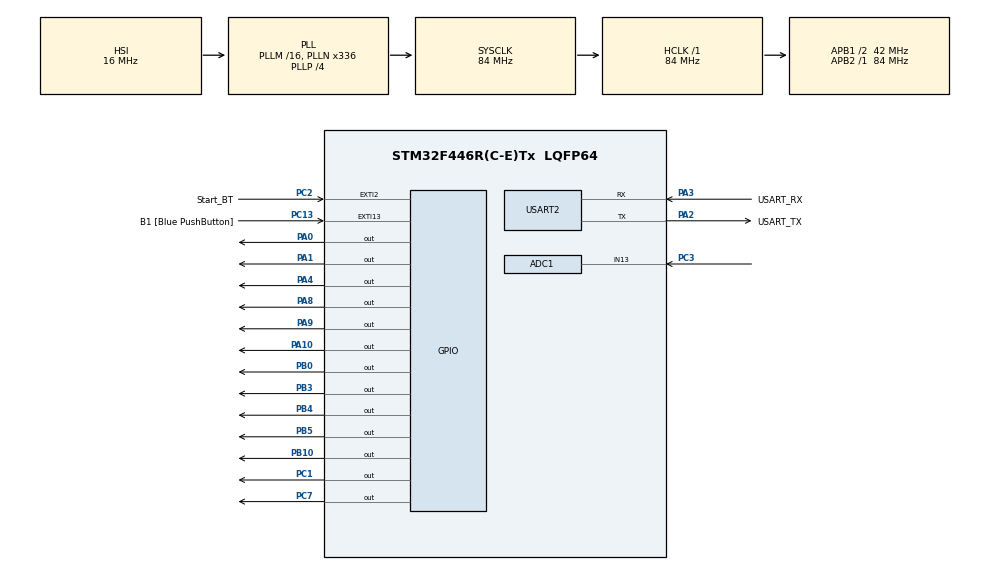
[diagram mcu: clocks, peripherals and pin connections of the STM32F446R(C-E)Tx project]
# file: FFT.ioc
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ADC1.Channel-0\#ChannelRegularConversion=ADC_CHANNEL_13
ADC1.ExternalTrigConv=ADC_EXTERNALTRIGCONV_T3_TRGO
ADC1.NbrOfConversionFlag=1
ADC1.Rank-0\#ChannelRegularConversion=1
ADC1.SamplingTime-0\#ChannelRegularConversion=ADC_SAMPLETIME_3CYCLES
ADC1.master=1
ARM.CMSIS.5.6.0.CMSISJjCORE=true
ARM.CMSIS.5.6.0.CMSISJjDSP=Library
Mcu.Family=STM32F4
Mcu.Name=STM32F446R(C-E)Tx
Mcu.Package=LQFP64
NVIC.ADC_IRQn=true\:0\:0\:false\:false\:true\:true\:true\:true
NVIC.EXTI2_IRQn=true\:0\:0\:false\:false\:true\:true\:true\:true
NVIC.PriorityGroup=NVIC_PRIORITYGROUP_0
PA0-WKUP.Signal=GPIO_Output
PA1.Signal=GPIO_Output
PA10.Signal=GPIO_Output
PA13.GPIO_Label=TMS
PA13.Mode=Serial_Wire
PA13.Signal=SYS_JTMS-SWDIO
PA14.GPIO_Label=TCK
PA14.Mode=Serial_Wire
PA14.Signal=SYS_JTCK-SWCLK
PA2.GPIO_Label=USART_TX
PA2.Mode=Asynchronous
PA2.Signal=USART2_TX
PA3.GPIO_Label=USART_RX
PA3.Mode=Asynchronous
PA3.Signal=USART2_RX
PA4.Signal=GPIO_Output
PA8.Signal=GPIO_Output
PA9.Signal=GPIO_Output
PB0.Signal=GPIO_Output
PB10.Signal=GPIO_Output
PB3.Signal=GPIO_Output
PB4.Signal=GPIO_Output
PB5.Signal=GPIO_Output
PC1.Signal=GPIO_Output
PC13.GPIO_Label=B1 [Blue PushButton]
PC13.GPIO_ModeDefaultEXTI=GPIO_MODE_IT_FALLING
PC13.Signal=GPXTI13
PC14-OSC32_IN.Mode=LSE-External-Oscillator
PC14-OSC32_IN.Signal=RCC_OSC32_IN
PC15-OSC32_OUT.Mode=LSE-External-Oscillator
PC15-OSC32_OUT.Signal=RCC_OSC32_OUT
PC2.GPIO_Label=Start_BT
PC2.GPIO_ModeDefaultEXTI=GPIO_MODE_IT_FALLING
PC2.GPIO_PuPd=GPIO_PULLUP
PC2.Signal=GPXTI2
PC3.Signal=ADCx_IN13
PC7.Signal=GPIO_Output
PH0-OSC_IN.Mode=HSE-External-Oscillator
PH0-OSC_IN.Signal=RCC_OSC_IN
PH1-OSC_OUT.Mode=HSE-External-Oscillator
PH1-OSC_OUT.Signal=RCC_OSC_OUT
ProjectManager.HeapSize=0x200
ProjectManager.StackSize=0x400
ProjectManager.TargetToolchain=STM32CubeIDE
RCC.48MHZClocksFreq_Value=84000000
RCC.AHBFreq_Value=84000000
RCC.APB1CLKDivider=RCC_HCLK_DIV2
RCC.APB1Freq_Value=42000000
RCC.APB1TimFreq_Value=84000000
RCC.APB2Freq_Value=84000000
RCC.APB2TimFreq_Value=84000000
RCC.CortexFreq_Value=84000000
RCC.FLatency-AdvancedSettings=FLASH_LATENCY_2
RCC.HCLKFreq_Value=84000000
RCC.HSE_VALUE=8000000
RCC.HSI_VALUE=16000000
RCC.PLLN=336
RCC.PLLP=RCC_PLLP_DIV4
RCC.SYSCLKFreq_VALUE=84000000
RCC.SYSCLKSource=RCC_SYSCLKSOURCE_PLLCLK
RCC.USBFreq_Value=168000000
RCC.VCOOutputFreq_Value=336000000
SH.ADCx_IN13.0=ADC1_IN13,IN13
TIM1.AutoReloadPreload=TIM_AUTORELOAD_PRELOAD_ENABLE
TIM1.Period=0xFFFF-1
TIM1.Prescaler=84-1
TIM3.AutoReloadPreload=TIM_AUTORELOAD_PRELOAD_ENABLE
TIM3.Channel-PWM\ Generation1\ No\ Output=TIM_CHANNEL_1
TIM3.Period=100-1
TIM3.Prescaler=84-1
TIM3.TIM_MasterOutputTrigger=TIM_TRGO_UPDATE
USART2.VirtualMode=VM_ASYNC
VP_ARM.CMSIS_VS_CMSISJjCORE_5.3.0_5.6.0.Mode=CMSISJjCORE
VP_ARM.CMSIS_VS_CMSISJjDSP_1.7.0_5.6.0.Mode=CMSISJjDSP
VP_MBEDTLS_VS_MBEDTLS.Mode=Enabled
VP_TIM1_VS_ClockSourceINT.Mode=Internal
VP_TIM3_VS_ClockSourceINT.Mode=Internal
VP_TIM3_VS_no_output1.Mode=PWM Generation1 No Output
board=NUCLEO-F446RE

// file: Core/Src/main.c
/* USER CODE BEGIN Header */
/**
  ******************************************************************************
  * @file           : main.c
  * @brief          : Main program body
  ******************************************************************************
  * @attention
  *
  * Copyright (c) 2026 STMicroelectronics.
  * All rights reserved.
  *
  * This software is licensed under terms that can be found in the LICENSE file
  * in the root directory of this software component.
  * If no LICENSE file comes with this software, it is provided AS-IS.
  *
  ******************************************************************************
  */
/* USER CODE END Header */
#include "main.h"
#include "mbedtls.h"

/* USER CODE BEGIN Includes */
#include "fonts.h"  // fontes para o display TFT
#include "tft.h"    // funções do display TFT
#include "user_setting.h"  // configurações do usuário
#include <math.h>       // funções matemáticas (sin, cos, log...)
#include <stdlib.h>     // rand(), srand()
#include <stdio.h>    // sprintf() para formatar strings
#include "arm_math.h"   // biblioteca CMSIS-DSP para FFT
#include "arm_const_structs.h"   // estruturas prontas da FFT (ex: 1024 pontos)
/* USER CODE END Includes */

/* USER CODE BEGIN PD */

// Define o tamanho total do buffer
// 2048 = 1024 amostras reais + 1024 zeros (parte imaginária)
// A FFT complexa precisa de pares [real, imaginário]
#define TEST_LENGTH_SAMPLES 2048
/* USER CODE END PD */

ADC_HandleTypeDef hadc1; // estrutura de controle do ADC1

TIM_HandleTypeDef htim1;  // estrutura de controle do Timer1 (usado pelo TFT)
TIM_HandleTypeDef htim3;  // estrutura de controle do Timer3 (trigger do ADC)

UART_HandleTypeDef huart2; // estrutura de controle da UART2 (debug serial)

/* USER CODE BEGIN PV */
// Armazena o ID do controlador do display TFT
// Cada modelo de display tem um ID diferente (ex: 0x9341 para ILI9341)
uint16_t ID=0;

// Flag setada pela ISR do botão
// 'volatile': o compilador não pode otimizar/cachear esta variável
// pois ela é modificada em contexto de interrupção
volatile uint8_t botao_pressionado = 0;

// Flag setada pela ISR do ADC quando 1024 amostras foram coletadas
// Sinaliza ao loop principal que pode processar os dados
volatile uint8_t adc_pronto = 0;

/* Variáveis para FFT dinâmico */
// Contador de amostras coletadas pelo ADC
// 'volatile' obriga o compilador a sempre ler da memória
// pois essa variável é modificada dentro de uma interrupção (ISR)
volatile uint32_t nAmostras = 0;

// Buffer onde a ISR do ADC armazena as amostras capturadas
// Tamanho 2048: posições pares = parte real, ímpares = 0 (imaginário)
float32_t dinamicInput_f32_10kHz[TEST_LENGTH_SAMPLES];

// Buffer de saída da FFT — armazena as magnitudes de cada bin
// Tamanho 1024 = metade de 2048 (apenas bins úteis)
// 'static' significa que só existe neste arquivo
static float32_t testOutput[TEST_LENGTH_SAMPLES/2];

/* ------------------------------------------------------------------
* Global variables for FFT Bin Example
* ------------------------------------------------------------------- */
uint32_t fftSize = 1024; // número de pontos da FFT
uint32_t ifftFlag = 0;   // 0 = FFT direta, 1 = FFT inversa
uint32_t doBitReverse = 1;  // 1 = aplica bit-reversal (necessário para o algoritmo)
uint32_t testIndex = 0;   // bin onde foi encontrada a maior magnitude

/* USER CODE END PV */

void SystemClock_Config(void);
static void MX_GPIO_Init(void);
static void MX_TIM1_Init(void);
static void MX_USART2_UART_Init(void);
static void MX_ADC1_Init(void);
static void MX_TIM3_Init(void);

int main(void)
{

  /* MCU Configuration--------------------------------------------------------*/

  /* Reset of all peripherals, Initializes the Flash interface and the Systick. */
  HAL_Init();

  /* Configure the system clock */
  SystemClock_Config();

  /* Initialize all configured peripherals */
  MX_GPIO_Init();
  MX_TIM1_Init();
  // configura UART2 a 115200 baud (debug via USB-Serial)
  MX_USART2_UART_Init();
  // inicializa biblioteca de criptografia (não usada ativamente)
  MX_MBEDTLS_Init();
  // configura ADC1: 12 bits, trigger TIM3, canal 13 (PC3)
  MX_ADC1_Init();
  // configura Timer3: prescaler=83, period=99 → 10kHz de trigger
  MX_TIM3_Init();

  /* USER CODE BEGIN 2 */
  // Configura os pinos GPIO específicos do display TFT
  // (dados, controle, chip select, reset, etc.)
  tft_gpio_init();

  // Inicia o Timer1 — usado internamente pelo driver do TFT
  // para medir tempo de operações do display
  HAL_TIM_Base_Start(&htim1);

  // Lê o ID do controlador do display via SPI/paralelo

  // Retorna ex: 0x9341 para ILI9341, 0x7789 para ST7789
  ID = tft_readID();

  // Aguarda 100ms para o display estabilizar após leitura do ID
  HAL_Delay(100);

  // inicializa o display com base no ID lido
  tft_init(ID);

  // rotação 1 = landscape (320×240)
  tft_setRotation(1);

  // preenche a tela de preto
  tft_fillScreen(BLACK);

  // sem inversão de cores
  tft_invertDisplay(0);

  // Escreve mensagem inicial na tela
  // Parâmetros: posição Y=15, cor branca, fonte mono12x7bold, escala 1
  tft_printnewtstr(15, WHITE, &mono12x7bold, 1, (uint8_t*)"Pressione o botao");

  //---------------Agora vai para o LCD----------------
  int32_t i;  // iterador dos loops de desenho
  int32_t amp; // amplitude em pixels calculada para cada amostra
  int32_t escala;  // fator de escala para ampliar o sinal no display
  int32_t yini;   // coordenada Y inicial da barra vertical
  int32_t yfinal;  // coordenada Y final da barra vertical
  int32_t ycentro;  // coordenada Y do centro do gráfico
  char num[30];
  int32_t size;

  // Cópia das primeiras 320 amostras reais do sinal no tempo
  // Salva ANTES da FFT, pois a FFT modifica o buffer in-place
  // 320 = largura do display em pixels (um ponto por coluna)
  float32_t espelho_pre_processamento[320];
  // Maior magnitude encontrada no espectro
  // Usada para normalizar o gráfico de frequência (maior barra = tela cheia)
  float32_t maxValue;

  /* USER CODE END 2 */

  /* Infinite loop */
  while (1)
  {

    /* USER CODE BEGIN 3 */

	  // Verifica se a flag foi setada pela ISR do botão
	  // Só entra aqui quando o usuário pressionar o botão físico
	  if(botao_pressionado)
	  {
		  // Limpa a flag imediatamente para permitir nova detecção futura
		  botao_pressionado = 0;

		  // Limpa a tela e informa o usuário que a captura está em andamento
		  tft_fillScreen(BLACK);
		  tft_printnewtstr(15, WHITE, &mono12x7bold, 1, (uint8_t*)"Adquirindo...");

		  nAmostras  = 0;  // Zera o contador de amostras antes de iniciar nova captura
		  adc_pronto = 0;   // Garante que a flag de conclusão está limpa

	      // Habilita o ADC1 em modo interrupção
	      // A cada conversão completa, chama HAL_ADC_ConvCpltCallback automaticamente
		  HAL_ADC_Start_IT(&hadc1);

		  // Inicia o Timer3 no canal 1
		  // Gera evento TRGO (trigger output) a cada 100 ciclos de 1MHz = 10kHz
		  // Cada TRGO dispara uma conversão no ADC1
		  HAL_TIM_PWM_Start(&htim3, TIM_CHANNEL_1);

		  // Busy-wait: fica aqui até a ISR do ADC setar adc_pronto = 1
		  // Isso ocorre após 1024 conversões (≈ 0,1 segundo a 10kHz)
		  while(!adc_pronto);

		  // Copia as 320 primeiras amostras REAIS para exibição no domínio do tempo
		  // i*2 pula as posições ímpares (parte imaginária = 0)
		  // Necessário porque a FFT vai modificar dinamicInput_f32_10kHz in-place
		  for(i = 0; i < 320; i++)
			  espelho_pre_processamento[i] = dinamicInput_f32_10kHz[i*2];

		  // Calcula a média aritmética das amostras reais
		  // Representa o offset DC do sinal (tensão de polarização do microfone)
		  float32_t media = 0.0f;
		  for(i = 0; i < (int32_t)fftSize; i++)
			  media += dinamicInput_f32_10kHz[i * 2];
		  media /= (float32_t)fftSize;

		  // Subtrai a média de cada amostra
		  // Centraliza o sinal em zero, evitando pico espúrio no bin 0 da FFT
		  for(i = 0; i < (int32_t)fftSize; i++)
			  dinamicInput_f32_10kHz[i * 2] -= media;

	      // Executa a FFT complexa de 1024 pontos
	      // &arm_cfft_sR_f32_len1024: estrutura com coeficientes (twiddle factors) pré-calculados
	      // dinamicInput_f32_10kHz: buffer de entrada/saída (modificado in-place)
	      // ifftFlag = 0: FFT direta (domínio do tempo → domínio da frequência)
	      // doBitReverse = 1: aplica reordenação bit-reversal (necessária pelo algoritmo)
		  arm_cfft_f32(&arm_cfft_sR_f32_len1024, dinamicInput_f32_10kHz, ifftFlag, doBitReverse);

		  // Calcula a magnitude de cada bin: sqrt(real² + imaginário²)
		  // Entrada: dinamicInput_f32_10kHz (saída complexa da FFT, 2048 floats)
		  // Saída: testOutput (1024 magnitudes, uma por bin)
		  arm_cmplx_mag_f32(dinamicInput_f32_10kHz, testOutput, fftSize);

	      // Encontra o valor máximo em testOutput
	      // maxValue: magnitude do bin dominante (frequência com mais energia)
	      // testIndex: índice do bin dominante
	      // Frequência dominante = testIndex * (fs / fftSize) = testIndex * 9,77 Hz
		  arm_max_f32(testOutput, fftSize, &maxValue, &testIndex);

		  // Se maxValue for zero (sem sinal), a divisão no gráfico causaria NaN/Inf
		  // Substitui por valor mínimo positivo para evitar erro
		  if(maxValue < 1e-6f)
			  maxValue = 1e-6f;

		  // Encontra o valor máximo em testOutput
		  // maxValue: magnitude do bin dominante (frequência com mais energia)
		  // testIndex: índice do bin dominante
		  // Frequência dominante = testIndex * (fs / fftSize) = testIndex * 9,77 Hz
		  arm_max_f32(testOutput, fftSize, &maxValue, &testIndex);

		  // ══════════════════════════════════════════════
		  // RESUMO DA AQUISIÇÃO — enviado uma vez por captura
		  // ══════════════════════════════════════════════
		  float32_t freq_dominante = (float32_t)testIndex * 10000.0f / 1024.0f;
		  // Converte o índice do bin para frequência real em Hz
		  // fórmula: bin * (taxa_amostragem / numero_pontos_fft)

		  char resumo[100];
		  int rsize = sprintf(resumo,
		      "\r\n[t=%lu] FREQ_DOMINANTE=%.1fHz MAG=%.4f\r\n",
		      HAL_GetTick(),      // tempo em ms desde o boot — identifica QUANDO foi essa captura
		      freq_dominante,     // frequência calculada do bin de pico
		      maxValue);          // magnitude (intensidade) do pico
		  HAL_UART_Transmit(&huart2, (uint8_t*)resumo, rsize, 200);
		  // ══════════════════════════════════════════════

		  tft_fillScreen(BLACK);
		  // ... continua o código do display do domínio do tempo

		  // Limpa a tela antes de desenhar o novo gráfico
		  tft_fillScreen(BLACK);

		  // Escreve o título na linha 15 pixels do topo
		  // Cor branca, fonte mono12x7bold, escala 1
		  tft_printnewtstr (15, WHITE, &mono12x7bold, 1, (uint8_t *)"FFT-Dominio do Tempo");

	      // Fator de amplificação: multiplica o sinal normalizado (-1 a +1) por 500
	      // Ajuste empírico para o KY-037 — sinal de microfone tem amplitude pequena
		  escala = 500;

		  // Centro vertical do gráfico = metade da tela (240px / 2 = 120)
		  // Amostras positivas sobem, negativas descem a partir deste ponto
		  ycentro = 120;

		  // percorre cada coluna do display (320 pixels de largura)
		  for(i=0; i<320; i++)
		  {
			  // Converte a amostra float (-1.0 a +1.0) em pixels
			  // Exemplo: amostra = 0.05, escala = 3000 → amp = 150 pixels
			  amp = (int32_t)(espelho_pre_processamento[i]*escala);

			  // Envia o valor pela UART para debug no PC (ex: Serial Monitor)
			  //size = sprintf(num,"%d\r\n",amp);
			  //HAL_UART_Transmit(&huart2, num, size, 10);

			  /* Proteção de borda: limita amp ao espaço disponível na tela */
			  if(amp >  ycentro)
				  amp =  ycentro; // Limita para não ultrapassar a borda superior
			  if(amp < -ycentro)
				  amp = -ycentro; // Limita para não ultrapassar a borda inferior

			  // Calcula onde começa e termina a barra vertical
			  // Sinal positivo: barra sobe a partir do centro
			  // Sinal negativo: barra desce a partir do centro
			  if(amp>0)
			  {
				  // Sinal positivo: barra vai do centro para CIMA
				  // yini menor que ycentro (tela tem Y crescendo para baixo)
				  yini = ycentro - amp;
				  yfinal = ycentro;
			  }
			  else
			  {
				  // Sinal negativo: barra vai do centro para BAIXO
				  // -amp é positivo, então yfinal > ycentro
				  yini = ycentro;
				  yfinal = ycentro-amp;
			  }
			  // Desenha retângulo de 1 pixel de largura na coluna i
			  // Da linha yini até yfinal, na cor amarela
			  // O +1 garante que ao menos 1 pixel é desenhado quando amp=0
			  tft_fillRect(i, yini, 1, yfinal-yini+1, YELLOW);
			  //tft_drawPixel(i, ycentro-amp, YELLOW);
		  }
		  // Mantém o gráfico do domínio do tempo visível por 4 segundos
		  HAL_Delay(4000);
		  // Limpa a tela antes do próximo gráfico
		  tft_fillScreen(BLACK);

		  // Escreve o título do espectro de frequências
		  tft_printnewtstr (15, WHITE, &mono12x7bold, 1, (uint8_t *)"FFT-Dominio da Freq.");

		  // Escala do espectro: após normalização por maxValue, amp vai de 0 a 150 pixels
		  // Ajuste conforme necessário para ocupar bem a tela verticalmente
		  escala = 150;

		  // Base das barras perto da borda inferior da tela (altura = 240px)
		  // Barras crescem para cima a partir deste ponto
		  ycentro = 230;

		  // ══════════════════════════════════════════════
		  // CABEÇALHO CSV — identifica as colunas dos dados que virão
		  // ══════════════════════════════════════════════
		  char header[30];
		  int hsize = sprintf(header, "freq_hz,magnitude\r\n");
		  HAL_UART_Transmit(&huart2, (uint8_t*)header, hsize, 100);
		  // ══════════════════════════════════════════════

		  // Percorre 320 bins de frequência (dos 1024 disponíveis, exibe os primeiros 320)
		  // Cada bin corresponde a: i * 10000 / 1024 ≈ i * 9,77 Hz
		  // Bin 320 ≈ 3125 Hz — cobre a faixa audível relevante do microfone
		  for(i=0; i<320; i++)
		  {
			  // Normaliza a magnitude do bin pelo valor máximo
			  // testOutput[i] / maxValue → valor entre 0.0 e 1.0
			  // Multiplica por escala para converter em pixels
			  // O bin dominante terá sempre amp = escala (barra máxima)
			  amp = (int32_t)(testOutput[i]*escala/maxValue);
			  //size = sprintf(num,"%d\r\n",amp);
			  //HAL_UART_Transmit(&huart2, num, size, 10);

			  /* Proteção de borda */
			  // Limita para não ultrapassar a borda superior da tela
			  if(amp > ycentro)
				  amp = ycentro;
			  // Magnitudes são sempre positivas, mas garante que não há valor negativo
			  if(amp < 0)
				  amp = 0;

			  // ══════════════════════════════════════════════
			  // CALCULA A FREQUÊNCIA REAL DESTE BIN
			  // ══════════════════════════════════════════════
			  float32_t freq_hz = (float32_t)i * 10000.0f / 1024.0f;
			  // i = índice do bin (0 a 319)
			  // 10000 = taxa de amostragem em Hz
			  // 1024 = número de pontos da FFT
			  // Resultado: cada bin equivale a ~9,77 Hz

			  // ══════════════════════════════════════════════
			  // ENVIA A LINHA CSV: frequência,magnitude
			  // ══════════════════════════════════════════════
			  size = sprintf(num, "%.1f, %6f\r\n", freq_hz, testOutput[i]);
			  // %.1f = frequência com 1 casa decimal (ex: 996.1)
			  // %ld  = amplitude em pixels (long int)
			  HAL_UART_Transmit(&huart2, (uint8_t*)num, size, 10);
			  // ══════════════════════════════════════════════

			  // Barras sempre crescem de ycentro (base) para cima
			  yini   = ycentro - amp;
			  yfinal = ycentro;

			  // Desenha a barra do espectro na coluna i, cor amarela
			  tft_fillRect(i, yini, 1, yfinal-yini+1, YELLOW);
		  }
		  // Aguarda 4 segundos com o espectro visível
		  HAL_Delay(4000);
		  //Limpa a linha de texto da tela
		  tft_fillRect(0, 0, 320, 22, BLACK);
		  //escreve texto para pressionar o botão para nova aquisição de dados
		  tft_printnewtstr(15, WHITE, &mono12x7bold, 1, (uint8_t*)"Pressione o botao...");
	  }
  }
  /* USER CODE END 3 */
}

void SystemClock_Config(void)
{
  RCC_OscInitTypeDef RCC_OscInitStruct = {0};
  RCC_ClkInitTypeDef RCC_ClkInitStruct = {0};

  /** Configure the main internal regulator output voltage
  */
  __HAL_RCC_PWR_CLK_ENABLE();
  __HAL_PWR_VOLTAGESCALING_CONFIG(PWR_REGULATOR_VOLTAGE_SCALE3);

  /** Initializes the RCC Oscillators according to the specified parameters
  * in the RCC_OscInitTypeDef structure.
  */
  RCC_OscInitStruct.OscillatorType = RCC_OSCILLATORTYPE_HSI;
  RCC_OscInitStruct.HSIState = RCC_HSI_ON;
  RCC_OscInitStruct.HSICalibrationValue = RCC_HSICALIBRATION_DEFAULT;
  RCC_OscInitStruct.PLL.PLLState = RCC_PLL_ON;
  RCC_OscInitStruct.PLL.PLLSource = RCC_PLLSOURCE_HSI;
  RCC_OscInitStruct.PLL.PLLM = 16;
  RCC_OscInitStruct.PLL.PLLN = 336;
  RCC_OscInitStruct.PLL.PLLP = RCC_PLLP_DIV4;
  RCC_OscInitStruct.PLL.PLLQ = 2;
  RCC_OscInitStruct.PLL.PLLR = 2;
  if (HAL_RCC_OscConfig(&RCC_OscInitStruct) != HAL_OK)
  {
    Error_Handler();
  }

  /** Initializes the CPU, AHB and APB buses clocks
  */
  RCC_ClkInitStruct.ClockType = RCC_CLOCKTYPE_HCLK|RCC_CLOCKTYPE_SYSCLK
                              |RCC_CLOCKTYPE_PCLK1|RCC_CLOCKTYPE_PCLK2;
  RCC_ClkInitStruct.SYSCLKSource = RCC_SYSCLKSOURCE_PLLCLK;
  RCC_ClkInitStruct.AHBCLKDivider = RCC_SYSCLK_DIV1;
  RCC_ClkInitStruct.APB1CLKDivider = RCC_HCLK_DIV2;
  RCC_ClkInitStruct.APB2CLKDivider = RCC_HCLK_DIV1;

  if (HAL_RCC_ClockConfig(&RCC_ClkInitStruct, FLASH_LATENCY_2) != HAL_OK)
  {
    Error_Handler();
  }
}

static void MX_ADC1_Init(void)
{

  ADC_ChannelConfTypeDef sConfig = {0};

  /** Configure the global features of the ADC (Clock, Resolution, Data Alignment and number of conversion)
  */
  hadc1.Instance = ADC1;
  hadc1.Init.ClockPrescaler = ADC_CLOCK_SYNC_PCLK_DIV4;
  hadc1.Init.Resolution = ADC_RESOLUTION_12B;
  hadc1.Init.ScanConvMode = DISABLE;
  hadc1.Init.ContinuousConvMode = DISABLE;
  hadc1.Init.DiscontinuousConvMode = DISABLE;
  hadc1.Init.ExternalTrigConvEdge = ADC_EXTERNALTRIGCONVEDGE_RISING;
  hadc1.Init.ExternalTrigConv = ADC_EXTERNALTRIGCONV_T3_TRGO;
  hadc1.Init.DataAlign = ADC_DATAALIGN_RIGHT;
  hadc1.Init.NbrOfConversion = 1;
  hadc1.Init.DMAContinuousRequests = DISABLE;
  hadc1.Init.EOCSelection = ADC_EOC_SINGLE_CONV;
  if (HAL_ADC_Init(&hadc1) != HAL_OK)
  {
    Error_Handler();
  }

  /** Configure for the selected ADC regular channel its corresponding rank in the sequencer and its sample time.
  */
  sConfig.Channel = ADC_CHANNEL_13;
  sConfig.Rank = 1;
  sConfig.SamplingTime = ADC_SAMPLETIME_3CYCLES;
  if (HAL_ADC_ConfigChannel(&hadc1, &sConfig) != HAL_OK)
  {
    Error_Handler();
  }

}

static void MX_TIM1_Init(void)
{

  TIM_ClockConfigTypeDef sClockSourceConfig = {0};
  TIM_MasterConfigTypeDef sMasterConfig = {0};

  htim1.Instance = TIM1;
  htim1.Init.Prescaler = 84-1;
  htim1.Init.CounterMode = TIM_COUNTERMODE_UP;
  htim1.Init.Period = 0xFFFF-1;
  htim1.Init.ClockDivision = TIM_CLOCKDIVISION_DIV1;
  htim1.Init.RepetitionCounter = 0;
  htim1.Init.AutoReloadPreload = TIM_AUTORELOAD_PRELOAD_ENABLE;
  if (HAL_TIM_Base_Init(&htim1) != HAL_OK)
  {
    Error_Handler();
  }
  sClockSourceConfig.ClockSource = TIM_CLOCKSOURCE_INTERNAL;
  if (HAL_TIM_ConfigClockSource(&htim1, &sClockSourceConfig) != HAL_OK)
  {
    Error_Handler();
  }
  sMasterConfig.MasterOutputTrigger = TIM_TRGO_RESET;
  sMasterConfig.MasterSlaveMode = TIM_MASTERSLAVEMODE_DISABLE;
  if (HAL_TIMEx_MasterConfigSynchronization(&htim1, &sMasterConfig) != HAL_OK)
  {
    Error_Handler();
  }

}

static void MX_TIM3_Init(void)
{

  TIM_ClockConfigTypeDef sClockSourceConfig = {0};
  TIM_MasterConfigTypeDef sMasterConfig = {0};
  TIM_OC_InitTypeDef sConfigOC = {0};

  htim3.Instance = TIM3;
  htim3.Init.Prescaler = 84-1;
  htim3.Init.CounterMode = TIM_COUNTERMODE_UP;
  htim3.Init.Period = 100-1;
  htim3.Init.ClockDivision = TIM_CLOCKDIVISION_DIV1;
  htim3.Init.AutoReloadPreload = TIM_AUTORELOAD_PRELOAD_ENABLE;
  if (HAL_TIM_Base_Init(&htim3) != HAL_OK)
  {
    Error_Handler();
  }
  sClockSourceConfig.ClockSource = TIM_CLOCKSOURCE_INTERNAL;
  if (HAL_TIM_ConfigClockSource(&htim3, &sClockSourceConfig) != HAL_OK)
  {
    Error_Handler();
  }
  if (HAL_TIM_PWM_Init(&htim3) != HAL_OK)
  {
    Error_Handler();
  }
  sMasterConfig.MasterOutputTrigger = TIM_TRGO_UPDATE;
  sMasterConfig.MasterSlaveMode = TIM_MASTERSLAVEMODE_DISABLE;
  if (HAL_TIMEx_MasterConfigSynchronization(&htim3, &sMasterConfig) != HAL_OK)
  {
    Error_Handler();
  }
  sConfigOC.OCMode = TIM_OCMODE_PWM1;
  sConfigOC.Pulse = 0;
  sConfigOC.OCPolarity = TIM_OCPOLARITY_HIGH;
  sConfigOC.OCFastMode = TIM_OCFAST_DISABLE;
  if (HAL_TIM_PWM_ConfigChannel(&htim3, &sConfigOC, TIM_CHANNEL_1) != HAL_OK)
  {
    Error_Handler();
  }

}

static void MX_USART2_UART_Init(void)
{

  huart2.Instance = USART2;
  huart2.Init.BaudRate = 115200;
  huart2.Init.WordLength = UART_WORDLENGTH_8B;
  huart2.Init.StopBits = UART_STOPBITS_1;
  huart2.Init.Parity = UART_PARITY_NONE;
  huart2.Init.Mode = UART_MODE_TX_RX;
  huart2.Init.HwFlowCtl = UART_HWCONTROL_NONE;
  huart2.Init.OverSampling = UART_OVERSAMPLING_16;
  if (HAL_UART_Init(&huart2) != HAL_OK)
  {
    Error_Handler();
  }

}

static void MX_GPIO_Init(void)
{
  GPIO_InitTypeDef GPIO_InitStruct = {0};

  /* GPIO Ports Clock Enable */
  __HAL_RCC_GPIOC_CLK_ENABLE();
  __HAL_RCC_GPIOH_CLK_ENABLE();
  __HAL_RCC_GPIOA_CLK_ENABLE();
  __HAL_RCC_GPIOB_CLK_ENABLE();

  /*Configure GPIO pin Output Level */
  HAL_GPIO_WritePin(GPIOC, GPIO_PIN_1|GPIO_PIN_7, GPIO_PIN_RESET);

  /*Configure GPIO pin Output Level */
  HAL_GPIO_WritePin(GPIOA, GPIO_PIN_0|GPIO_PIN_1|GPIO_PIN_4|GPIO_PIN_8
                          |GPIO_PIN_9|GPIO_PIN_10, GPIO_PIN_RESET);

  /*Configure GPIO pin Output Level */
  HAL_GPIO_WritePin(GPIOB, GPIO_PIN_0|GPIO_PIN_10|GPIO_PIN_3|GPIO_PIN_4
                          |GPIO_PIN_5, GPIO_PIN_RESET);

  /*Configure GPIO pin : B1_Pin */
  GPIO_InitStruct.Pin = B1_Pin;
  GPIO_InitStruct.Mode = GPIO_MODE_IT_FALLING;
  GPIO_InitStruct.Pull = GPIO_NOPULL;
  HAL_GPIO_Init(B1_GPIO_Port, &GPIO_InitStruct);

  /*Configure GPIO pins : PC1 PC7 */
  GPIO_InitStruct.Pin = GPIO_PIN_1|GPIO_PIN_7;
  GPIO_InitStruct.Mode = GPIO_MODE_OUTPUT_PP;
  GPIO_InitStruct.Pull = GPIO_NOPULL;
  GPIO_InitStruct.Speed = GPIO_SPEED_FREQ_LOW;
  HAL_GPIO_Init(GPIOC, &GPIO_InitStruct);

  /*Configure GPIO pin : Start_BT_Pin */
  GPIO_InitStruct.Pin = Start_BT_Pin;
  GPIO_InitStruct.Mode = GPIO_MODE_IT_FALLING;
  GPIO_InitStruct.Pull = GPIO_PULLUP;
  HAL_GPIO_Init(Start_BT_GPIO_Port, &GPIO_InitStruct);

  /*Configure GPIO pins : PA0 PA1 PA4 PA8
                           PA9 PA10 */
  GPIO_InitStruct.Pin = GPIO_PIN_0|GPIO_PIN_1|GPIO_PIN_4|GPIO_PIN_8
                          |GPIO_PIN_9|GPIO_PIN_10;
  GPIO_InitStruct.Mode = GPIO_MODE_OUTPUT_PP;
  GPIO_InitStruct.Pull = GPIO_NOPULL;
  GPIO_InitStruct.Speed = GPIO_SPEED_FREQ_LOW;
  HAL_GPIO_Init(GPIOA, &GPIO_InitStruct);

  /*Configure GPIO pins : PB0 PB10 PB3 PB4
                           PB5 */
  GPIO_InitStruct.Pin = GPIO_PIN_0|GPIO_PIN_10|GPIO_PIN_3|GPIO_PIN_4
                          |GPIO_PIN_5;
  GPIO_InitStruct.Mode = GPIO_MODE_OUTPUT_PP;
  GPIO_InitStruct.Pull = GPIO_NOPULL;
  GPIO_InitStruct.Speed = GPIO_SPEED_FREQ_LOW;
  HAL_GPIO_Init(GPIOB, &GPIO_InitStruct);

  /* EXTI interrupt init*/
  HAL_NVIC_SetPriority(EXTI2_IRQn, 0, 0);
  HAL_NVIC_EnableIRQ(EXTI2_IRQn);

}

/* USER CODE BEGIN 4 */

// Chamada automaticamente pelo HAL quando o ADC termina uma conversão
// Contexto: interrupção — deve ser rápida, sem HAL_Delay ou operações lentas
void HAL_ADC_ConvCpltCallback(ADC_HandleTypeDef *hacd)
{
	uint32_t vADC;

	// Lê o resultado da conversão: valor de 0 a 4095 (12 bits)
	// 0    → 0V (GND)
	// 2048 → 1,65V (meio da faixa)
	// 4095 → 3,3V (VCC)
	vADC = HAL_ADC_GetValue(&hadc1);

	// Normaliza o valor para a faixa -1.0 a +1.0
	// Subtrai 2048 para centralizar em zero (remove o offset DC de 1,65V)
	// Divide por 2048 para normalizar a amplitude
	// Armazena na posição REAL do buffer (índice par)
	dinamicInput_f32_10kHz[nAmostras*2] = ((float32_t)vADC - 2048.0f) / 2048.0f;

	// Parte IMAGINÁRIA = 0 (sinal do microfone é real, não complexo)
	// A FFT complexa exige pares [real, imaginário] mesmo para sinais reais
	dinamicInput_f32_10kHz[nAmostras*2+1] = 0.0F;

	// Incrementa o contador e verifica se coletou todas as amostras necessárias
	if(++nAmostras >= fftSize)
	{
		// Para o ADC — impede novas conversões
		// Sem isso o ADC continuaria convertendo e sobrescreveria o buffer
		if( HAL_ADC_Stop_IT(&hadc1) != HAL_OK)
		{
			Error_Handler();
		}

		 // Para o Timer3 — cessa a geração de triggers para o ADC
		if(HAL_TIM_PWM_Stop(&htim3, TIM_CHANNEL_1) != HAL_OK)
		{
			Error_Handler();
		}
		// Sinaliza ao loop principal que os dados estão prontos para processamento
		adc_pronto = 1;
	}
}
// Chamada automaticamente pelo HAL quando ocorre interrupção em qualquer pino EXTI
// Contexto: interrupção — deve ser rápida
void HAL_GPIO_EXTI_Callback(uint16_t GPIO_Pin)
{
	// Variável estática: mantém seu valor entre chamadas (não é reiniciada)
	// Armazena o tempo do último pressionamento válido
    static uint32_t ultimo_tick = 0;
    // Verifica se a interrupção veio do pino do botão Start_BT
    // Necessário pois todos os pinos EXTI chamam a mesma função
    if(GPIO_Pin == Start_BT_Pin)
    {
    	// Obtém o tempo atual em milissegundos desde o boot
        uint32_t agora = HAL_GetTick();
        // Evita múltiplos disparos por bounce mecânico do botão
        if(agora - ultimo_tick > 200)  // 200ms de debounce
        {
        	// Sinaliza ao loop principal que o botão foi pressionado
            botao_pressionado = 1;

            // Atualiza o tempo do último pressionamento válido
            ultimo_tick = agora;
        }
    }
}
/* USER CODE END 4 */

void Error_Handler(void)
{
  __disable_irq();
  while (1)
  {
  }
}
